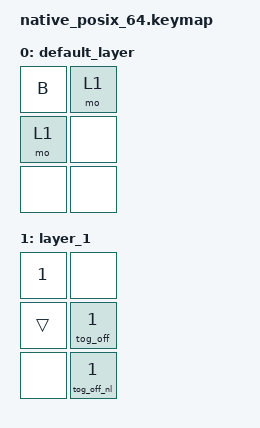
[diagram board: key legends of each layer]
#include <dt-bindings/zmk/keys.h>
#include <behaviors.dtsi>
#include <dt-bindings/zmk/kscan_mock.h>

/*
 * A second &mo 1 at (1,0) (transparent inside layer 1). Inside layer 1, a locking
 * toggle-mode "off" instance at (1,1) and an opt-out one (no `locking;`) at (2,1).
 */
/ {
    behaviors {
        tog_off: tog_off {
            compatible = "zmk,behavior-toggle-layer";
            #binding-cells = <1>;
            toggle-mode = "off";
            locking;
        };

        tog_off_nl: tog_off_nl {
            compatible = "zmk,behavior-toggle-layer";
            #binding-cells = <1>;
            toggle-mode = "off";
        };
    };

    layer_idle_lock {
        compatible = "zmk,layer-idle-lock";

        lock_1 {
            layer = <1>;
            idle-ms = <500>;
            enter = <&kp F13>;
            exit = <&kp F14>;
        };
    };

    keymap {
        compatible = "zmk,keymap";

        default_layer {
            bindings = <
                &kp B  &mo 1
                &mo 1  &none
                &none  &none>;
        };

        layer_1 {
            bindings = <
                &kp N1  &none
                &trans  &tog_off 1
                &none   &tog_off_nl 1>;
        };
    };
};

&kscan {
    rows = <3>;
    events = <
        /* lock via the first &mo */
        ZMK_MOCK_PRESS(0,1,600)
        ZMK_MOCK_RELEASE(0,1,10)
        /* the other &mo 1, pressed and released while locked: still locked */
        ZMK_MOCK_PRESS(1,0,10)
        ZMK_MOCK_RELEASE(1,0,1000)
        /* still layer 1: N1, and no second F13 */
        ZMK_MOCK_PRESS(0,0,10)
        ZMK_MOCK_RELEASE(0,0,10)
        /* the opt-out "off" (no `locking;`) is ignored by a locked layer */
        ZMK_MOCK_PRESS(2,1,10)
        ZMK_MOCK_RELEASE(2,1,10)
        ZMK_MOCK_PRESS(0,0,10)
        ZMK_MOCK_RELEASE(0,0,10)
        /* the locking "off" unlocks: off + F14 */
        ZMK_MOCK_PRESS(1,1,10)
        ZMK_MOCK_RELEASE(1,1,10)
        ZMK_MOCK_PRESS(0,0,10)
        ZMK_MOCK_RELEASE(0,0,10)
    >;
};
